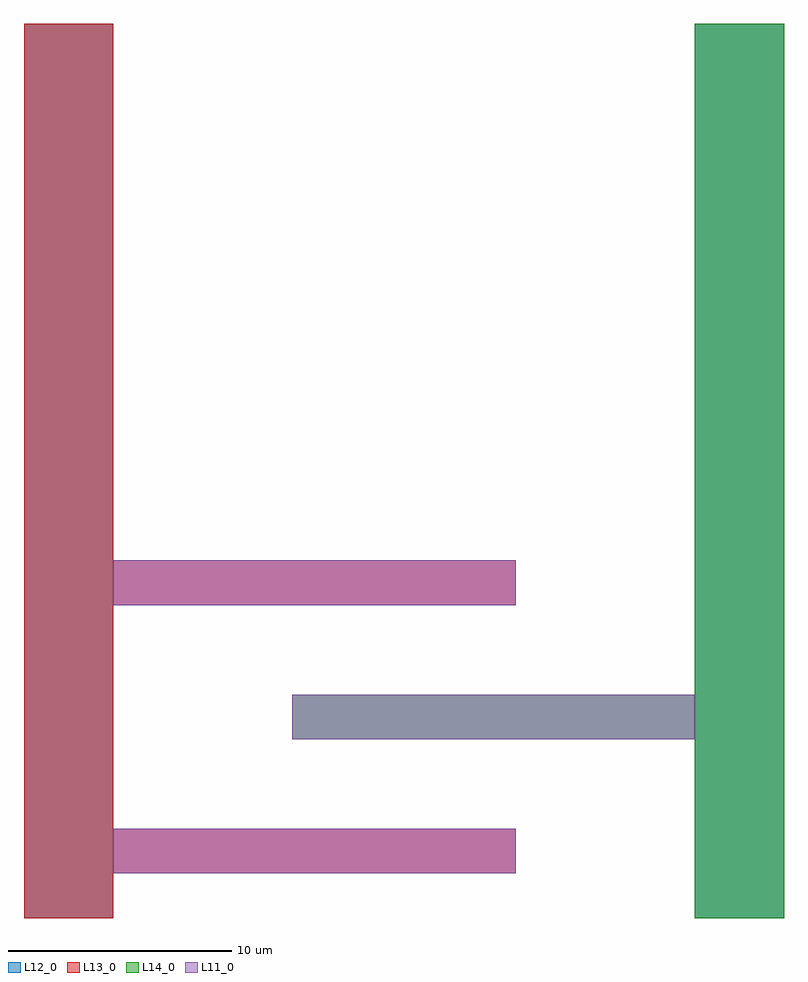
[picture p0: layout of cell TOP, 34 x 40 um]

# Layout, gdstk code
import gdstk
lib = gdstk.Library(unit=1e-6, precision=1e-09)
def R(c, l, rs):  # rectangles x0, y0, x1, y1
    for r in rs: c.add(gdstk.rectangle(r[:2], r[2:], *l))
L11_0 = (11, 0)
L12_0 = (12, 0)
L13_0 = (13, 0)
L14_0 = (14, 0)

top = lib.new_cell('TOP')
R(top, L11_0, [(4,2,22,4), (12,8,30,10), (4,14,22,16)])
R(top, L12_0, [(0,0,4,40), (30,0,34,40)])
R(top, L13_0, [(0,0,4,40), (4,2,22,4), (4,14,22,16)])
R(top, L14_0, [(30,0,34,40), (12,8,30,10)])

lib.write_gds('TOP.gds')
